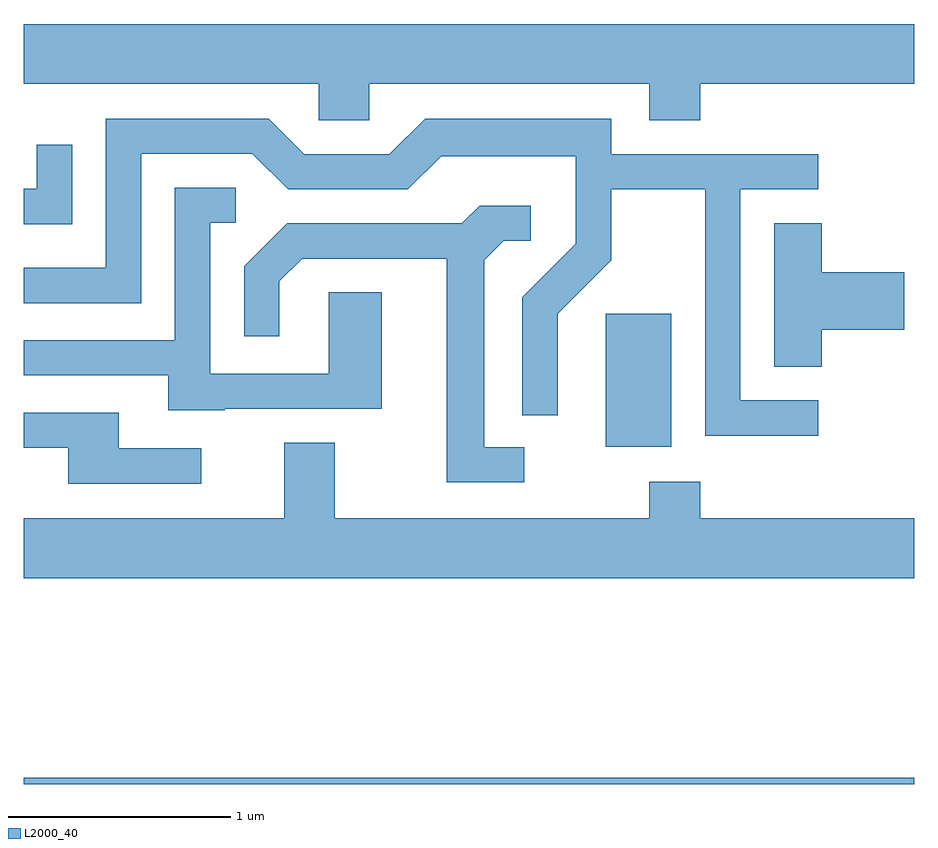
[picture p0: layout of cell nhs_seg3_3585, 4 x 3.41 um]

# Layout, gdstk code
import gdstk
lib = gdstk.Library(unit=1e-6, precision=1e-09)
def R(c, l, rs):  # rectangles x0, y0, x1, y1
    for r in rs: c.add(gdstk.rectangle(r[:2], r[2:], *l))
def P(c, l, *ps):  # polygons
    for p in ps: c.add(gdstk.Polygon(p, *l))
L2000_40 = (2000, 40)

nhs_seg3_3585 = lib.new_cell('nhs_seg3_3585')
R(nhs_seg3_3585, L2000_40, [(289.611,1213.892,293.611,1213.919), (292.226,1215.406,292.519,1216.004)])
P(nhs_seg3_3585, L2000_40, [(291.164,1217.036),(292.421,1217.036),(292.421,1216.871),(292.649,1216.871),(292.649,1217.036),(293.611,1217.036),(293.611,1217.304),(289.611,1217.304),(289.611,1217.036),(290.936,1217.036),(290.936,1216.871),(291.164,1216.871)],
  [(293.178,1215.614),(292.829,1215.614),(292.829,1216.561),(293.178,1216.561),(293.178,1216.719),(292.249,1216.719),(292.249,1216.879),(291.414,1216.879),(291.254,1216.719),(290.872,1216.719),(290.712,1216.879),(289.981,1216.879),(289.981,1216.209),(289.611,1216.209),(289.611,1216.051),(290.139,1216.051),(290.139,1216.721),(290.639,1216.721),(290.799,1216.561),(291.337,1216.561),(291.487,1216.711),(292.091,1216.711),(292.091,1216.317),(291.851,1216.077),(291.851,1215.548),(292.009,1215.548),(292.009,1216.004),(292.249,1216.244),(292.249,1216.561),(292.671,1216.561),(292.671,1215.456),(293.178,1215.456)],
  [(289.829,1216.763),(289.671,1216.763),(289.671,1216.564),(289.611,1216.564),(289.611,1216.406),(289.829,1216.406)],
  [(290.515,1215.576),(291.219,1215.576),(291.219,1216.099),(290.981,1216.099),(290.981,1215.734),(290.449,1215.734),(290.449,1216.411),(290.563,1216.411),(290.563,1216.569),(290.291,1216.569),(290.291,1215.884),(289.611,1215.884),(289.611,1215.726),(290.261,1215.726),(290.261,1215.571),(290.515,1215.571)],
  [(291.858,1215.404),(291.679,1215.404),(291.679,1216.244),(291.767,1216.331),(291.888,1216.331),(291.888,1216.489),(291.659,1216.489),(291.579,1216.409),(290.794,1216.409),(290.601,1216.217),(290.601,1215.903),(290.759,1215.903),(290.759,1216.149),(290.862,1216.251),(291.511,1216.251),(291.511,1215.246),(291.858,1215.246)],
  [(293.194,1215.931),(293.564,1215.931),(293.564,1216.189),(293.194,1216.189),(293.194,1216.409),(292.981,1216.409),(292.981,1215.766),(293.194,1215.766)],
  [(290.408,1215.399),(290.039,1215.399),(290.039,1215.559),(289.611,1215.559),(289.611,1215.401),(289.811,1215.401),(289.811,1215.241),(290.408,1215.241)],
  [(293.611,1215.084),(292.649,1215.084),(292.649,1215.249),(292.421,1215.249),(292.421,1215.084),(291.009,1215.084),(291.009,1215.424),(290.781,1215.424),(290.781,1215.084),(289.611,1215.084),(289.611,1214.816),(293.611,1214.816)])

lib.write_gds('nhs_seg3_3585.gds')
